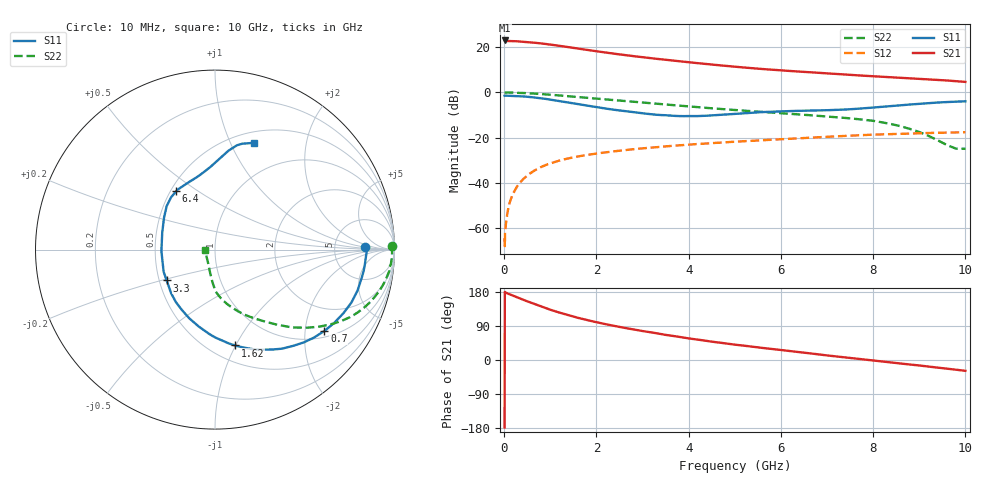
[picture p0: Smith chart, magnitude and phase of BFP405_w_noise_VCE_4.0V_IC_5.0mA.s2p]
! Infineon Technologies  Discrete & RF Semiconductors
! BFP405
! VCE =  4.0 V,  IC =  5.0 mA
! Common Emitter S-Parameters:  Jan 2016
# GHz  S  MA  R  50
!  f  S11  S21  S12  S22
! GHz  MAG  ANG  MAG  ANG  MAG  ANG  MAG  ANG
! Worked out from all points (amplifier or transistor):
!   233 points, 10 MHz to 10 GHz, reference 50 ohm
!   highest |S21| = 22.9 dB at 10 MHz (marker M1)
!   |S21| within 3 dB of that: start of sweep to 1.412 GHz
!   unconditionally stable (mu >= 1): start of sweep to 19.24 MHz; 3.457 GHz to end of sweep
!   at 200 MHz: K = 0.18, MSG = 33.6 dB, |S12| = -44.6 dB
!   at 1.74 GHz: K = 0.55, MSG = 23.4 dB, |S12| = -27.9 dB
!   at 10 GHz: K = 1.44, MAG = 7.2 dB, |S12| = -17.6 dB
!   lowest NFmin = 1.22 dB at 900 MHz
!   S11 on the Smith chart (normalised r, x): 10 MHz: 11, +1; 700 MHz: 1.18, -2.54; 1.62 GHz: 0.65, -0.99; 3.3 GHz: 0.55, -0.21; 6.4 GHz: 0.54, +0.41; 10 GHz: 0.62, +1.23
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0.01  0.8385 0.9  13.96 -178.3  0.0006 -51.6  0.9848 1.2
0.015  0.8416 0.0  13.84 179.8  0.0004 13.2  0.9836 0.7
0.02  0.8449 -0.8  13.74 177.8  0.0008 56.0  0.9825 0.2
0.1  0.8392 -5.4  13.58 174.1  0.0031 75.5  0.9874 -2.3
0.26  0.8282 -13.9  13.41 166.5  0.0077 79.7  0.9751 -6.3
0.46  0.8041 -24.4  12.98 156.7  0.0134 76.4  0.9617 -10.8
0.7  0.7597 -36.6  12.32 145.7  0.0198 71.4  0.9312 -16.1
0.9  0.7154 -46.3  11.69 136.8  0.0247 67.5  0.9005 -20.2
1.1  0.6675 -55.7  10.99 128.8  0.029 64.0  0.8678 -23.9
1.34  0.6087 -66.2  10.13 119.9  0.0337 60.3  0.8269 -27.8
1.62  0.5456 -78.2  9.199 110.7  0.0386 56.5  0.7808 -31.8
1.68  0.5334 -80.6  9.005 108.8  0.0396 55.8  0.7712 -32.5
2  0.4713 -93.9  8.064 99.7  0.0444 52.2  0.7233 -36.4
2.4  0.4095 -110.3  7.092 89.6  0.0499 48.6  0.6687 -40.6
3.3  0.3194 -147.5  5.495 70.7  0.0615 41.7  0.5607 -48.9
3.4  0.3145 -152.0  5.356 68.5  0.0628 41.0  0.5494 -49.8
4  0.2987 -178.4  4.612 57.0  0.0699 36.8  0.4873 -55.3
5.1  0.3402 145.6  3.599 39.2  0.082 29.4  0.3994 -65.4
6.4  0.3903 123.6  2.868 20.7  0.0967 21.6  0.3243 -75.4
6.8  0.3972 115.9  2.694 15.1  0.1016 18.8  0.3026 -78.6
8.4  0.4988 88.1  2.133 -6.7  0.1196 6.3  0.1981 -92.6
10  0.633 70.0  1.696 -28.5  0.1315 -5.7  0.0566 -179.2
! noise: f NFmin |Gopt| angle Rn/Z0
0.9  1.22  0.36  11  0.33
1.8  1.49  0.28  18  0.31
2.4  1.64  0.24  26  0.31
3  1.66  0.21  44  0.29
4  1.83  0.1  66  0.25
5  2.19  0.05  139  0.23
